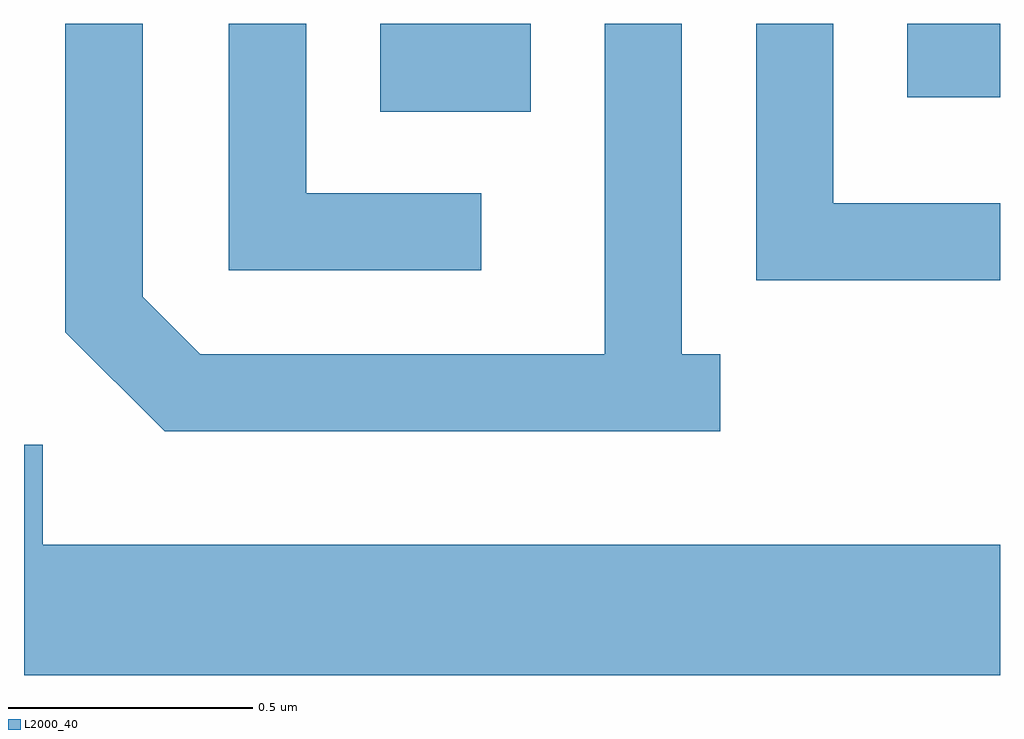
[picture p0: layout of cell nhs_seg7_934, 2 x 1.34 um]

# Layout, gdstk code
import gdstk
lib = gdstk.Library(unit=1e-6, precision=1e-09)
def R(c, l, rs):  # rectangles x0, y0, x1, y1
    for r in rs: c.add(gdstk.rectangle(r[:2], r[2:], *l))
def P(c, l, *ps):  # polygons
    for p in ps: c.add(gdstk.Polygon(p, *l))
L2000_40 = (2000, 40)

nhs_seg7_934 = lib.new_cell('nhs_seg7_934')
R(nhs_seg7_934, L2000_40, [(192.341,1782.071,192.649,1782.252), (193.421,1782.101,193.611,1782.252)])
P(nhs_seg7_934, L2000_40, [(193.038,1781.574),(192.959,1781.574),(192.959,1782.252),(192.801,1782.252),(192.801,1781.574),(191.972,1781.574),(191.854,1781.692),(191.854,1782.252),(191.696,1782.252),(191.696,1781.619),(191.899,1781.416),(193.038,1781.416)],
  [(193.611,1781.884),(193.269,1781.884),(193.269,1782.252),(193.111,1782.252),(193.111,1781.726),(193.611,1781.726)],
  [(192.548,1781.904),(192.189,1781.904),(192.189,1782.252),(192.031,1782.252),(192.031,1781.746),(192.548,1781.746)],
  [(193.611,1781.184),(191.649,1781.184),(191.649,1781.389),(191.611,1781.389),(191.611,1780.916),(193.611,1780.916)])

lib.write_gds('nhs_seg7_934.gds')
